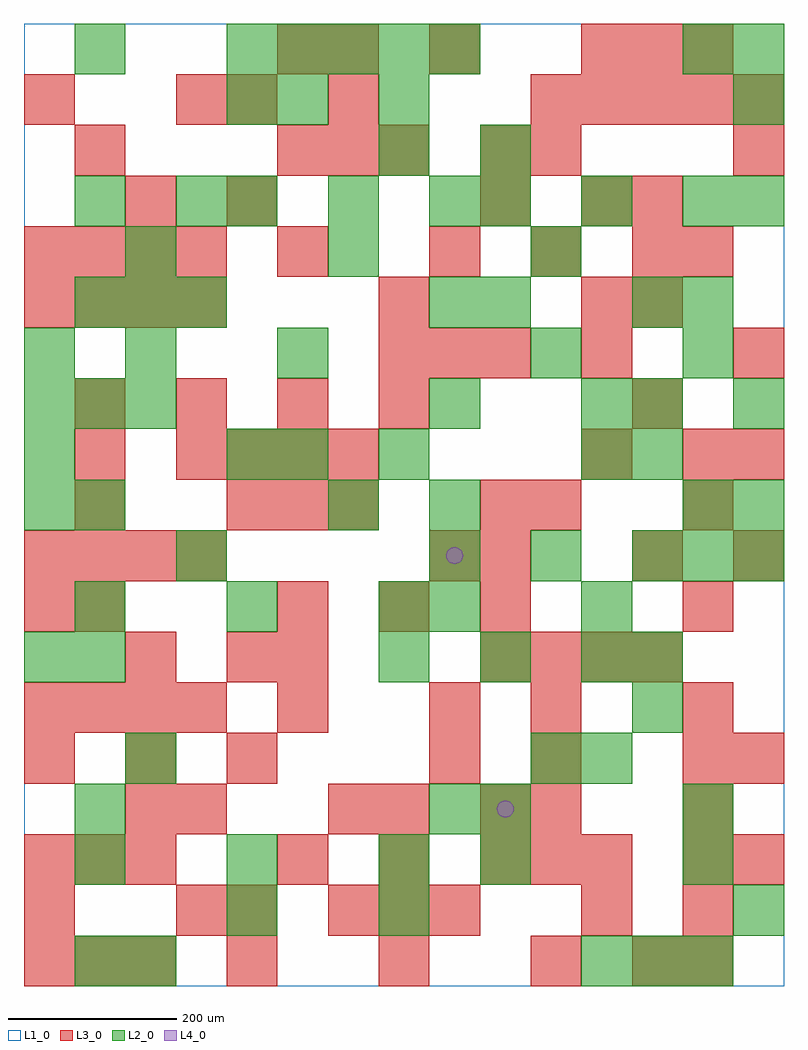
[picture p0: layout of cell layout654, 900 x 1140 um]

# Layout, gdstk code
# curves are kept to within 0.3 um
import gdstk
lib = gdstk.Library(unit=1e-6, precision=1e-09)
def R(c, l, rs):  # rectangles x0, y0, x1, y1
    for r in rs: c.add(gdstk.rectangle(r[:2], r[2:], *l))
def A(c, l, x, y, w, h, nx, ny, dx, dy):  # array of equal rectangles
    R(c, l, [(x+i*dx, y+j*dy, x+i*dx+w, y+j*dy+h) for i in range(nx) for j in range(ny)])
def P(c, l, *ps):  # polygons
    for p in ps: c.add(gdstk.Polygon(p, *l))
L1_0 = (1, 0)
L2_0 = (2, 0)
L3_0 = (3, 0)
L4_0 = (4, 0)

layout654 = lib.new_cell('layout654')
R(layout654, L1_0, [(0,0,900,1140)])
A(layout654, L2_0, 60, 0, 60, 60, 1, 4, 0, 180)
A(layout654, L2_0, 660, 0, 60, 60, 3, 1, 60, 0)
A(layout654, L2_0, 60, 120, 60, 60, 3, 2, 180, 300)
A(layout654, L2_0, 660, 240, 60, 60, 1, 3, 0, 180)
A(layout654, L2_0, 420, 360, 60, 60, 3, 1, 120, 0)
A(layout654, L2_0, 480, 420, 60, 60, 1, 4, 0, 120)
A(layout654, L2_0, 480, 480, 60, 60, 3, 1, 120, 0)
A(layout654, L2_0, 0, 660, 60, 60, 3, 1, 60, 0)
A(layout654, L2_0, 60, 780, 60, 60, 3, 1, 60, 0)
A(layout654, L2_0, 120, 840, 60, 60, 3, 1, 240, 0)
A(layout654, L2_0, 240, 900, 60, 60, 3, 1, 120, 0)
A(layout654, L2_0, 540, 900, 60, 60, 3, 1, 120, 0)
A(layout654, L2_0, 240, 1080, 60, 60, 5, 1, 60, 0)
R(layout654, L2_0, [(120,0,180,60), (240,60,300,120), (420,60,480,120), (840,60,900,120), (540,120,600,180), (780,120,840,180), (480,180,540,240), (540,180,600,240), (780,180,840,240), (120,240,180,300), (600,240,660,300), (720,300,780,360), (0,360,60,420), (720,360,780,420), (180,480,240,540), (780,480,840,540), (840,480,900,540), (0,540,60,600), (360,540,420,600), (780,540,840,600), (840,540,900,600), (0,600,60,660), (240,600,300,660), (300,600,360,660), (420,600,480,660), (720,600,780,660), (660,660,720,720), (720,660,780,720), (840,660,900,720), (0,720,60,780), (120,720,180,780), (300,720,360,780), (600,720,660,780), (780,720,840,780), (540,780,600,840), (720,780,780,840), (780,780,840,840), (60,900,120,960), (180,900,240,960), (840,900,900,960), (420,960,480,1020), (540,960,600,1020), (240,1020,300,1080), (300,1020,360,1080), (420,1020,480,1080), (840,1020,900,1080), (60,1080,120,1140), (780,1080,840,1140), (840,1080,900,1140)])
A(layout654, L3_0, 0, 0, 60, 60, 3, 2, 60, 120)
A(layout654, L3_0, 240, 0, 60, 60, 3, 1, 180, 0)
A(layout654, L3_0, 780, 0, 60, 60, 1, 6, 0, 60)
A(layout654, L3_0, 360, 60, 60, 60, 3, 1, 60, 0)
A(layout654, L3_0, 300, 120, 60, 60, 3, 2, 120, 300)
A(layout654, L3_0, 600, 120, 60, 60, 1, 4, 0, 60)
A(layout654, L3_0, 0, 240, 60, 60, 3, 1, 120, 0)
A(layout654, L3_0, 0, 300, 60, 60, 4, 2, 60, 180)
A(layout654, L3_0, 540, 360, 60, 60, 4, 1, 60, 0)
A(layout654, L3_0, 840, 480, 60, 60, 1, 3, 0, 120)
A(layout654, L3_0, 240, 540, 60, 60, 3, 1, 60, 0)
A(layout654, L3_0, 180, 600, 60, 60, 4, 1, 60, 0)
A(layout654, L3_0, 60, 660, 60, 60, 4, 1, 120, 0)
A(layout654, L3_0, 720, 660, 60, 60, 1, 3, 0, 120)
A(layout654, L3_0, 420, 720, 60, 60, 3, 1, 60, 0)
A(layout654, L3_0, 0, 780, 60, 60, 4, 2, 60, 60)
A(layout654, L3_0, 480, 840, 60, 60, 3, 1, 120, 0)
A(layout654, L3_0, 300, 960, 60, 60, 3, 1, 60, 0)
A(layout654, L3_0, 600, 1020, 60, 60, 5, 1, 60, 0)
A(layout654, L3_0, 660, 1080, 60, 60, 3, 1, 60, 0)
R(layout654, L3_0, [(720,0,780,60), (0,60,60,120), (180,60,240,120), (240,60,300,120), (660,60,720,120), (660,120,720,180), (840,120,900,180), (120,180,180,240), (180,180,240,240), (360,180,420,240), (420,180,480,240), (540,180,600,240), (480,240,540,300), (840,240,900,300), (300,300,360,360), (480,300,540,360), (120,360,180,420), (240,360,300,420), (300,360,360,420), (0,420,60,480), (60,420,120,480), (780,420,840,480), (480,480,540,540), (540,480,600,540), (720,480,780,540), (60,540,120,600), (540,540,600,600), (600,540,660,600), (780,540,840,600), (60,600,120,660), (660,600,720,660), (780,600,840,660), (660,720,720,780), (420,780,480,840), (660,780,720,840), (300,840,360,900), (780,840,840,900), (120,900,180,960), (240,900,300,960), (540,900,600,960), (660,900,720,960), (60,960,120,1020), (540,960,600,1020), (600,960,660,1020), (840,960,900,1020), (0,1020,60,1080), (180,1020,240,1080), (240,1020,300,1080), (360,1020,420,1080), (300,1080,360,1140), (360,1080,420,1140), (480,1080,540,1140)])
P(layout654, L4_0, [(520,510),(519.239,513.827),(517.071,517.071),(513.827,519.239),(510,520),(506.173,519.239),(502.929,517.071),(500.761,513.827),(500,510),(500.761,506.173),(502.929,502.929),(506.173,500.761),(510,500),(513.827,500.761),(517.071,502.929),(519.239,506.173)],
  [(580,210),(579.239,213.827),(577.071,217.071),(573.827,219.239),(570,220),(566.173,219.239),(562.929,217.071),(560.761,213.827),(560,210),(560.761,206.173),(562.929,202.929),(566.173,200.761),(570,200),(573.827,200.761),(577.071,202.929),(579.239,206.173)])

lib.write_gds('layout654.gds')
